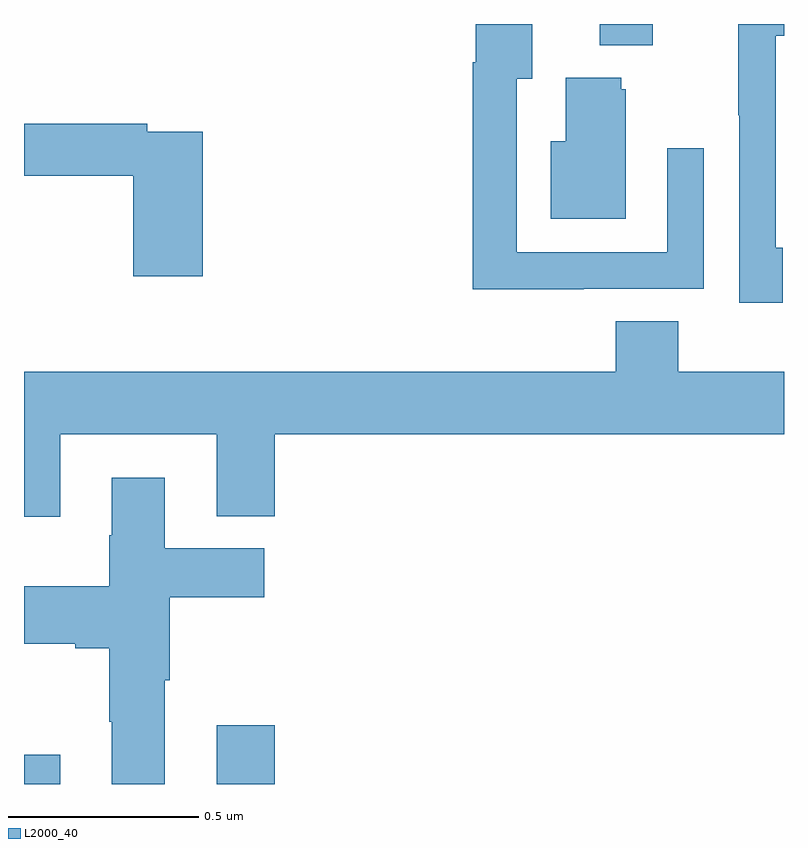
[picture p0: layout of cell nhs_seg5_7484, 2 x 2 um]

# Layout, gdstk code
import gdstk
lib = gdstk.Library(unit=1e-6, precision=1e-09)
def R(c, l, rs):  # rectangles x0, y0, x1, y1
    for r in rs: c.add(gdstk.rectangle(r[:2], r[2:], *l))
def P(c, l, *ps):  # polygons
    for p in ps: c.add(gdstk.Polygon(p, *l))
L2000_40 = (2000, 40)

nhs_seg5_7484 = lib.new_cell('nhs_seg5_7484')
R(nhs_seg5_7484, L2000_40, [(209,895.799,209.095,895.876), (209.507,895.799,209.66,895.954), (210.515,897.743,210.655,897.799)])
P(nhs_seg5_7484, L2000_40, [(210.997,897.21),(210.978,897.21),(210.978,897.768),(211,897.768),(211,897.799),(210.88,897.799),(210.88,897.559),(210.882,897.559),(210.882,897.066),(210.997,897.066)],
  [(210.473,897.102),(210.789,897.102),(210.789,897.472),(210.693,897.472),(210.693,897.198),(210.297,897.198),(210.297,897.655),(210.337,897.655),(210.337,897.799),(210.189,897.799),(210.189,897.698),(210.181,897.698),(210.181,897.101),(210.473,897.101)],
  [(210.583,897.627),(210.572,897.627),(210.572,897.658),(210.425,897.658),(210.425,897.49),(210.386,897.49),(210.386,897.287),(210.583,897.287)],
  [(209.471,897.516),(209.324,897.516),(209.324,897.536),(209,897.536),(209,897.4),(209.288,897.4),(209.288,897.135),(209.471,897.135)],
  [(209.095,896.72),(209.507,896.72),(209.507,896.504),(209.66,896.504),(209.66,896.72),(211,896.72),(211,896.884),(210.722,896.884),(210.722,897.017),(210.557,897.017),(210.557,896.884),(209,896.884),(209,896.502),(209.095,896.502)],
  [(209.371,896.072),(209.384,896.072),(209.384,896.29),(209.632,896.29),(209.632,896.419),(209.371,896.419),(209.371,896.605),(209.231,896.605),(209.231,896.454),(209.224,896.454),(209.224,896.32),(209,896.32),(209,896.168),(209.135,896.168),(209.135,896.156),(209.224,896.156),(209.224,895.963),(209.231,895.963),(209.231,895.799),(209.371,895.799)])

lib.write_gds('nhs_seg5_7484.gds')
